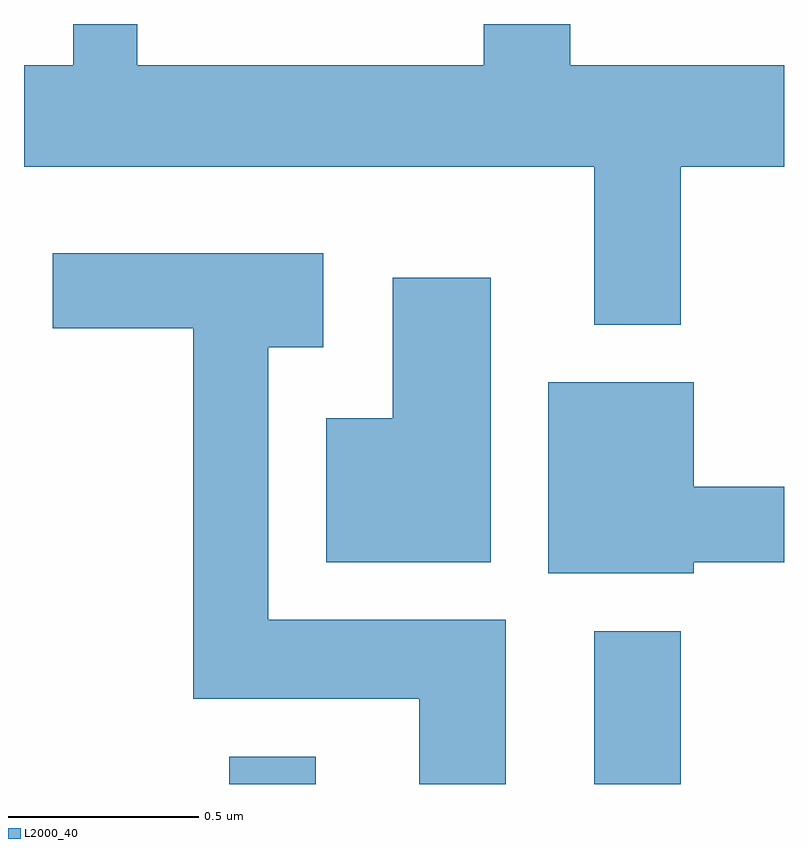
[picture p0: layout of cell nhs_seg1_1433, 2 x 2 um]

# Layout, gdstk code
import gdstk
lib = gdstk.Library(unit=1e-6, precision=1e-09)
def R(c, l, rs):  # rectangles x0, y0, x1, y1
    for r in rs: c.add(gdstk.rectangle(r[:2], r[2:], *l))
def P(c, l, *ps):  # polygons
    for p in ps: c.add(gdstk.Polygon(p, *l))
L2000_40 = (2000, 40)

nhs_seg1_1433 = lib.new_cell('nhs_seg1_1433')
R(nhs_seg1_1433, L2000_40, [(196.151,915.712,196.379,915.784), (197.111,915.712,197.339,916.114)])
P(nhs_seg1_1433, L2000_40, [(197.339,917.336),(197.611,917.336),(197.611,917.604),(197.049,917.604),(197.049,917.712),(196.821,917.712),(196.821,917.604),(195.909,917.604),(195.909,917.712),(195.741,917.712),(195.741,917.604),(195.611,917.604),(195.611,917.336),(197.111,917.336),(197.111,916.921),(197.339,916.921)],
  [(196.879,916.144),(196.254,916.144),(196.254,916.861),(196.399,916.861),(196.399,917.109),(195.686,917.109),(195.686,916.911),(196.056,916.911),(196.056,915.936),(196.651,915.936),(196.651,915.712),(196.879,915.712)],
  [(196.839,917.044),(196.581,917.044),(196.581,916.674),(196.406,916.674),(196.406,916.296),(196.839,916.296)],
  [(197.374,916.296),(197.611,916.296),(197.611,916.494),(197.374,916.494),(197.374,916.769),(196.991,916.769),(196.991,916.266),(197.374,916.266)])

lib.write_gds('nhs_seg1_1433.gds')
